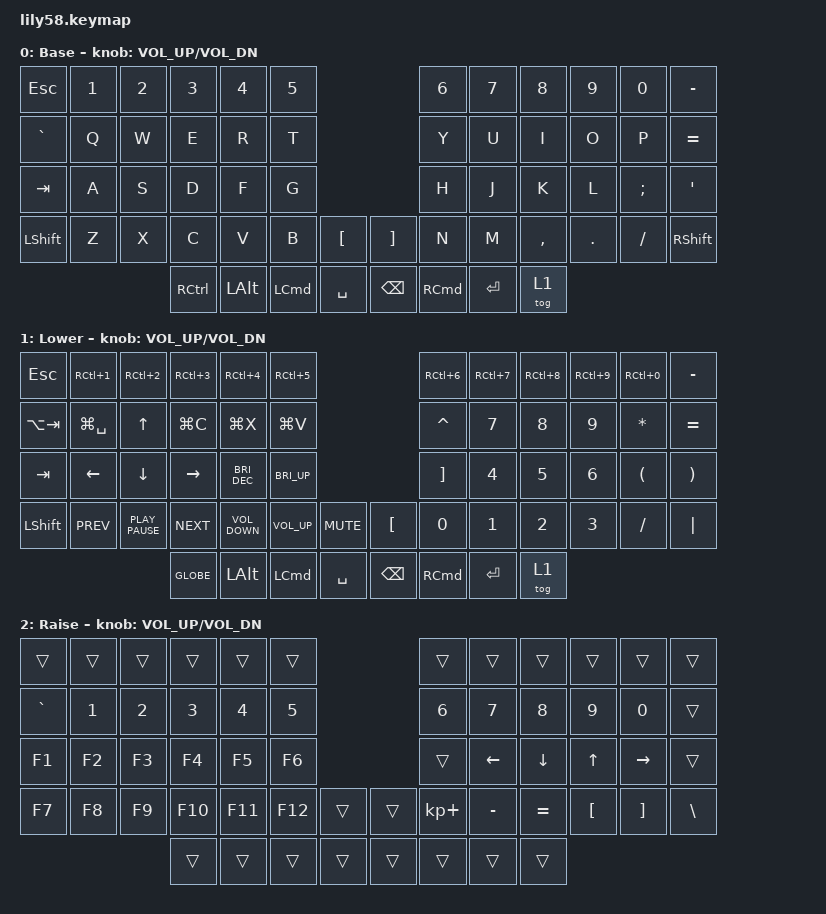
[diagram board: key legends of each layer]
/*
 * Copyright (c) 2020 The ZMK Contributors
 *
 * SPDX-License-Identifier: MIT
 */

#include <behaviors.dtsi>
#include <dt-bindings/zmk/keys.h>

/ {
    keymap {
        compatible = "zmk,keymap";

        default_layer {
            // ------------------------------------------------------------------------------------------------------------
            // |  ESC  |  1  |  2  |  3   |  4   |  5   |                   |  6   |  7    |  8    |  9   |   0   |   `   |
            // |  TAB  |  Q  |  W  |  E   |  R   |  T   |                   |  Y   |  U    |  I    |  O   |   P   |   -   |
            // |  CTRL |  A  |  S  |  D   |  F   |  G   |                   |  H   |  J    |  K    |  L   |   ;   |   '   |
            // | SHIFT |  Z  |  X  |  C   |  V   |  B   |   "["  |  |  "]"  |  N   |  M    |  ,    |  .   |   /   | SHIFT |
            //                     | ALT  | GUI  | LOWER|  SPACE |  | ENTER | RAISE| BSPC  | GUI   |

            display-name = "Base";
            bindings = <
&kp ESC    &kp N1  &kp N2  &kp N3             &kp N4        &kp N5                                        &kp N6             &kp N7     &kp N8     &kp N9   &kp N0    &kp MINUS
&kp GRAVE  &kp Q   &kp W   &kp E              &kp R         &kp T                                         &kp Y              &kp U      &kp I      &kp O    &kp P     &kp EQUAL
&kp TAB    &kp A   &kp S   &kp D              &kp F         &kp G                                         &kp H              &kp J      &kp K      &kp L    &kp SEMI  &kp SQT
&kp LSHFT  &kp Z   &kp X   &kp C              &kp V         &kp B             &kp LBKT     &kp RBKT       &kp N              &kp M      &kp COMMA  &kp DOT  &kp FSLH  &kp RSHFT
                           &kp RIGHT_CONTROL  &kp LEFT_ALT  &kp LEFT_COMMAND  &kp SPACE    &kp BACKSPACE  &kp RIGHT_COMMAND  &kp ENTER  &tog 1
            >;

            sensor-bindings = <&inc_dec_kp C_VOL_UP C_VOL_DN>;
        };

        lower_layer {
            // ------------------------------------------------------------------------------------------------------------
            // | BTCLR | BT1 | BT2 |  BT3 |  BT4 |  BT5 |                   |      |       |       |      |       |       |
            // |  F1   |  F2 |  F3 |  F4  |  F5  |  F6  |                   |  F7  |  F8   |  F9   |  F10 |  F11  |  F12  |
            // |   `   |  !  |  @  |  #   |  $   |  %   |                   |  ^   |  &    |  *    |  (   |   )   |   ~   |
            // |       |     |     |      |      |      |        |  |       |      |  _    |  +    |  {   |   }   |  "|"  |
            //                     |      |      |      |        |  |       |      |       |       |

            display-name = "Lower";
            bindings = <
&kp ESC         &kp RC(NUMBER_1)  &kp RC(NUMBER_2)  &kp RC(NUMBER_3)  &kp RC(NUMBER_4)   &kp RC(N5)                                        &kp RC(NUMBER_6)   &kp RC(N7)    &kp RC(N8)    &kp RC(N9)    &kp RC(N0)            &kp MINUS
&kp LA(TAB)     &kp LG(SPACE)     &kp UP_ARROW      &kp LG(C)         &kp LG(X)          &kp LG(V)                                         &kp CARET          &kp N7        &kp N8        &kp N9        &kp ASTERISK          &kp EQUAL
&kp TAB         &kp LEFT_ARROW    &kp DOWN          &kp RIGHT         &kp C_BRI_DEC      &kp C_BRI_UP                                      &kp RIGHT_BRACKET  &kp NUMBER_4  &kp NUMBER_5  &kp NUMBER_6  &kp LEFT_PARENTHESIS  &kp RIGHT_PARENTHESIS
&kp LEFT_SHIFT  &kp K_PREV        &kp K_PLAY_PAUSE  &kp K_NEXT        &kp C_VOLUME_DOWN  &kp C_VOLUME_UP   &kp K_MUTE    &kp LEFT_BRACKET  &kp N0             &kp NUMBER_1  &kp NUMBER_2  &kp NUMBER_3  &kp SLASH             &kp PIPE
                                                    &kp GLOBE         &kp LEFT_ALT       &kp LEFT_COMMAND  &kp SPACE     &kp BACKSPACE     &kp RIGHT_COMMAND  &kp ENTER     &tog 1
            >;

            sensor-bindings = <&inc_dec_kp C_VOL_UP C_VOL_DN>;
        };

        raise_layer {
            // ------------------------------------------------------------------------------------------------------------
            // |       |     |     |      |      |      |                   |      |       |       |      |       |       |
            // |   `   |  1  |  2  |  3   |  4   |  5   |                   |  6   |   7   |   8   |  9   |   0   |       |
            // |   F1  |  F2 |  F3 |  F4  |  F5  |  F6  |                   |      |   <-  |   v   |  ^   |  ->   |       |
            // |   F7  |  F8 |  F9 |  F10 |  F11 |  F12 |        |  |       |  +   |   -   |   =   |  [   |   ]   |   \   |
            //                     |      |      |      |        |  |       |      |       |       |

            display-name = "Raise";
            bindings = <
&trans     &trans  &trans  &trans   &trans   &trans                     &trans       &trans     &trans     &trans    &trans     &trans
&kp GRAVE  &kp N1  &kp N2  &kp N3   &kp N4   &kp N5                     &kp N6       &kp N7     &kp N8     &kp N9    &kp N0     &trans
&kp F1     &kp F2  &kp F3  &kp F4   &kp F5   &kp F6                     &trans       &kp LEFT   &kp DOWN   &kp UP    &kp RIGHT  &trans
&kp F7     &kp F8  &kp F9  &kp F10  &kp F11  &kp F12  &trans    &trans  &kp KP_PLUS  &kp MINUS  &kp EQUAL  &kp LBKT  &kp RBKT   &kp BSLH
                           &trans   &trans   &trans   &trans    &trans  &trans       &trans     &trans
            >;

            sensor-bindings = <&inc_dec_kp C_VOL_UP C_VOL_DN>;
        };
    };
};
